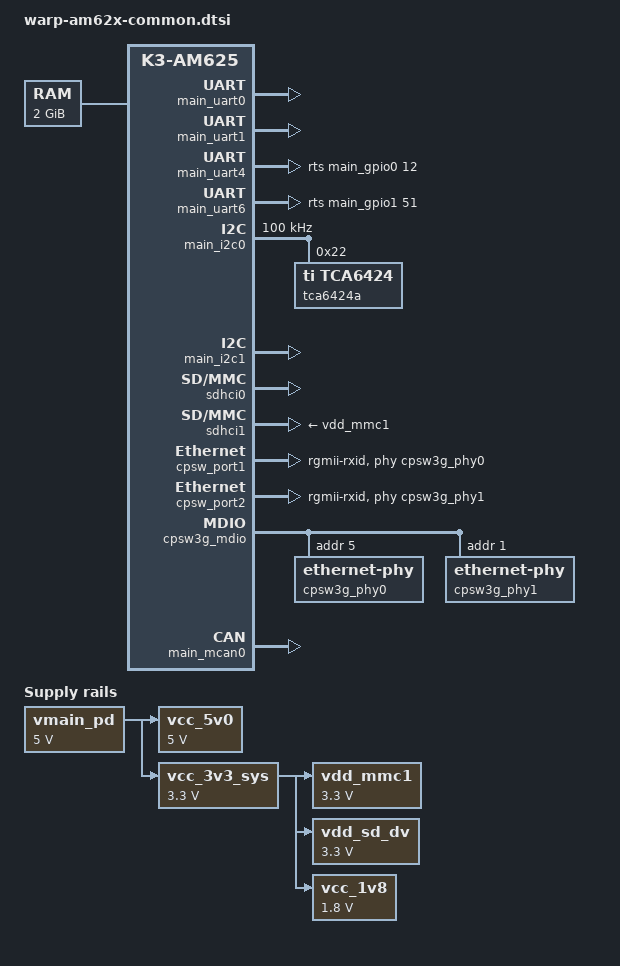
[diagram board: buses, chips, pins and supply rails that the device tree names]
// SPDX-License-Identifier: GPL-2.0
/*
 * Common dtsi for AM62x SK and derivatives
 *
 * Copyright (C) 2021-2023 Texas Instruments Incorporated - https://www.ti.com/
 */

#include <dt-bindings/leds/common.h>
#include <dt-bindings/gpio/gpio.h>
#include <dt-bindings/net/ti-dp83867.h>
#include <dt-bindings/input/input.h>
#include "k3-am625.dtsi"

/ {
	aliases {
		serial2 = &main_uart0;
		serial3 = &main_uart1;
		serial6 = &main_uart4;
		serial8 = &main_uart6;
		mmc0 = &sdhci0;
		mmc1 = &sdhci1;
		mmc2 = &sdhci2;
		ethernet0 = &cpsw_port1;
		ethernet1 = &cpsw_port2;
	};

	chosen {
		stdout-path = "serial2:115200n8";
		bootargs = "console=ttyS2,115200n8 earlycon=ns16550a,mmio32,0x02800000";
	};

	opp-table {
		/* Add 1.4GHz OPP for am625-sk board. Requires VDD_CORE to be at 0.85V */
		opp-1400000000 {
			opp-hz = /bits/ 64 <1400000000>;
			opp-supported-hw = <0x01 0x0004>;
			clock-latency-ns = <6000000>;
		};
	};

	memory@80000000 {
		device_type = "memory";
		/* 2G RAM */
		reg = <0x00000000 0x80000000 0x00000000 0x80000000>;

	};

	reserved-memory {
		#address-cells = <2>;
		#size-cells = <2>;
		ranges;

		ramoops@9c700000 {
			compatible = "ramoops";
			reg = <0x00 0x9c700000 0x00 0x00100000>;
			record-size = <0x8000>;
			console-size = <0x8000>;
			ftrace-size = <0x00>;
			pmsg-size = <0x8000>;
		};



		rtos_ipc_memory_region: ipc-memories@9c800000 {
			compatible = "shared-dma-pool";
			reg = <0x00 0x9c800000 0x00 0x00300000>;
			no-map;
		};

		mcu_m4fss_dma_memory_region: m4f-dma-memory@9cb00000 {
			compatible = "shared-dma-pool";
			reg = <0x00 0x9cb00000 0x00 0x100000>;
			no-map;
		};

		mcu_m4fss_memory_region: m4f-memory@9cc00000 {
			compatible = "shared-dma-pool";
			reg = <0x00 0x9cc00000 0x00 0xe00000>;
			no-map;
		};

		wkup_r5fss0_core0_dma_memory_region: r5f-dma-memory@9da00000 {
			compatible = "shared-dma-pool";
			reg = <0x00 0x9da00000 0x00 0x00100000>;
			no-map;
		};

		wkup_r5fss0_core0_memory_region: r5f-memory@9db00000 {
			compatible = "shared-dma-pool";
			reg = <0x00 0x9db00000 0x00 0x00c00000>;
			no-map;
		};

		lpm_ctx_ddr: lpm-memory@9e700000 {
			reg = <0x00 0x9e700000 0x00 0x80000>;
			alignment = <0x1000>;
		};

		secure_tfa_ddr: tfa@9e780000 {
			reg = <0x00 0x9e780000 0x00 0x80000>;
			alignment = <0x1000>;
			no-map;
		};

		secure_ddr: optee@9e800000 {
			reg = <0x00 0x9e800000 0x00 0x01800000>; /* for OP-TEE */
			alignment = <0x1000>;
			no-map;
		};

		framebuffer: framebuffer@ff700000 {
			reg = <0x00 0xff700000 0x00 0x008ca000>;
			no-map;
		};
	};

	vmain_pd: regulator-0 {
		compatible = "regulator-fixed";
		regulator-name = "vmain_pd";
		regulator-min-microvolt = <5000000>;
		regulator-max-microvolt = <5000000>;
		regulator-always-on;
		regulator-boot-on;
	};

	vcc_5v0: regulator-1 {
		compatible = "regulator-fixed";
		regulator-name = "vcc_5v0";
		regulator-min-microvolt = <5000000>;
		regulator-max-microvolt = <5000000>;
		vin-supply = <&vmain_pd>;
		regulator-always-on;
		regulator-boot-on;
	};

	vcc_3v3_sys: regulator-2 {
		compatible = "regulator-fixed";
		regulator-name = "vcc_3v3_sys";
		regulator-min-microvolt = <3300000>;
		regulator-max-microvolt = <3300000>;
		vin-supply = <&vmain_pd>;
		regulator-always-on;
		regulator-boot-on;
	};

	vdd_mmc1: regulator-3 {
		compatible = "regulator-fixed";
		regulator-name = "vdd_mmc1";
		regulator-min-microvolt = <3300000>;
		regulator-max-microvolt = <3300000>;
		regulator-boot-on;
		enable-active-high;
		vin-supply = <&vcc_3v3_sys>;
	};

	vdd_sd_dv: regulator-sd {
		compatible = "regulator-fixed";
		regulator-name = "vdd_sd_dv";
		regulator-min-microvolt = <3300000>;
		regulator-max-microvolt = <3300000>;
		regulator-boot-on;
		enable-active-high;
		vin-supply = <&vcc_3v3_sys>;
	};


	vcc_1v8: regulator-5 {
		compatible = "regulator-fixed";
		regulator-name = "vcc_1v8";
		regulator-min-microvolt = <1800000>;
		regulator-max-microvolt = <1800000>;
		vin-supply = <&vcc_3v3_sys>;
		regulator-always-on;
		regulator-boot-on;
	};
};

&mcu_pmx0 {
	jtag1_pins_default: jtag1-default-pins {
		pinctrl-single,pins = <
			AM62X_MCU_IOPAD(0x0078, PIN_INPUT_PULLUP, 0) /* (E12) EMU0 */
			AM62X_MCU_IOPAD(0x007c, PIN_INPUT_PULLUP, 0) /* (C11) EMU1 */
			AM62X_MCU_IOPAD(0x0064, PIN_INPUT_PULLUP, 0) /* (A10) TCK */
			AM62X_MCU_IOPAD(0x006c, PIN_INPUT_PULLUP, 0) /* (A11) TDI */
			AM62X_MCU_IOPAD(0x0070, PIN_OUTPUT_PULLUP, 0) /* (D12) TDO */
			AM62X_MCU_IOPAD(0x0074, PIN_INPUT_PULLUP, 0) /* (B11) TMS */
			AM62X_MCU_IOPAD(0x0068, PIN_INPUT_PULLDOWN, 0) /* (B10) TRSTn */
		>;
	};

	mcu_i2c0_pins_default: mcu-i2c0-default-pins {
		pinctrl-single,pins = <
			AM62X_MCU_IOPAD(0x0044, PIN_INPUT, 0) /* (A8) MCU_I2C0_SCL */
			AM62X_MCU_IOPAD(0x0048, PIN_INPUT, 0) /* (D10) MCU_I2C0_SDA */
		>;
	};

	mcu_mcan0_pins_default: mcu-mcan0-default-pins {
		pinctrl-single,pins = <
			AM62X_MCU_IOPAD(0x0038, PIN_INPUT, 0) /* (B3) MCU_MCAN0_RX */
			AM62X_MCU_IOPAD(0x0034, PIN_OUTPUT, 0) /* (D6) MCU_MCAN0_TX */
		>;
	};
	mcu_mcan1_pins_default: mcu-mcan1-default-pins {
		pinctrl-single,pins = <
			AM62X_MCU_IOPAD(0x0040, PIN_INPUT, 0) /* (D4) MCU_MCAN1_RX */
			AM62X_MCU_IOPAD(0x003c, PIN_OUTPUT, 0) /* (E5) MCU_MCAN1_TX */
		>;
	};

};

&main_pmx0 {
	/* First pad number is ALW package and second is AMC package */
	main_uart0_pins_default: main-uart0-pins-default {
		pinctrl-single,pins = <
			AM62X_IOPAD(0x1c8, PIN_INPUT, 0) /* (D14/A13) UART0_RXD */
			AM62X_IOPAD(0x1cc, PIN_OUTPUT, 0) /* (E14/E11) UART0_TXD */
		>;
	};

	main_uart1_pins_default: main-uart1-pins-default {
		pinctrl-single,pins = <
			AM62X_IOPAD(0x01ac, PIN_INPUT, 2) /* (E19) MCASP0_AFSR.UART1_RXD */
			AM62X_IOPAD(0x01b0, PIN_OUTPUT, 2) /* (A20) MCASP0_ACLKR.UART1_TXD */
		>;
	};

	main_uart4_pins_default: main-uart4-pins-default {
		pinctrl-single,pins = <
			AM62X_IOPAD(0x00b0, PIN_INPUT, 3) /* (K22) GPMC0_CSn2.UART4_RXD */
			AM62X_IOPAD(0x00b4, PIN_OUTPUT, 3) /* (K24) GPMC0_CSn3.UART4_TXD */
		>;
	};

	main_uart6_pins_default: main-uart6-pins-default {
		pinctrl-single,pins = <
		    AM62X_IOPAD(0x0118, PIN_INPUT, 3) /* (D25) MMC2_CLK.UART6_RXD */
			AM62X_IOPAD(0x00a0, PIN_OUTPUT, 3) /* (K25) GPMC0_WPn.UART6_TXD */
		>;
	};

	main_i2c0_pins_default: main-i2c0-pins-default {
		pinctrl-single,pins = <
			AM62X_IOPAD(0x1e0, PIN_INPUT_PULLUP, 0) /* (B16/E12) I2C0_SCL */
			AM62X_IOPAD(0x1e4, PIN_INPUT_PULLUP, 0) /* (A16/D14) I2C0_SDA */
		>;
	};

	main_i2c1_pins_default: main-i2c1-pins-default {
		pinctrl-single,pins = <
			AM62X_IOPAD(0x1e8, PIN_INPUT_PULLUP, 0) /* (B17/A17) I2C1_SCL */
			AM62X_IOPAD(0x1ec, PIN_INPUT_PULLUP, 0) /* (A17/A16) I2C1_SDA */
		>;
	};

	main_mmc0_pins_default: main-mmc0-pins-default {
		pinctrl-single,pins = <
			AM62X_IOPAD(0x220, PIN_INPUT, 0) /* (Y3/V3) MMC0_CMD */
			AM62X_IOPAD(0x218, PIN_INPUT, 0) /* (AB1/Y1) MMC0_CLK */
			AM62X_IOPAD(0x214, PIN_INPUT, 0) /* (AA2/V2) MMC0_DAT0 */
			AM62X_IOPAD(0x210, PIN_INPUT, 0) /* (AA1/V1) MMC0_DAT1 */
			AM62X_IOPAD(0x20c, PIN_INPUT, 0) /* (AA3/W2) MMC0_DAT2 */
			AM62X_IOPAD(0x208, PIN_INPUT, 0) /* (Y4/W1) MMC0_DAT3 */
			AM62X_IOPAD(0x204, PIN_INPUT, 0) /* (AB2/Y2) MMC0_DAT4 */
			AM62X_IOPAD(0x200, PIN_INPUT, 0) /* (AC1/W3) MMC0_DAT5 */
			AM62X_IOPAD(0x1fc, PIN_INPUT, 0) /* (AD2/W4) MMC0_DAT6 */
			AM62X_IOPAD(0x1f8, PIN_INPUT, 0) /* (AC2/V4) MMC0_DAT7 */
		>;
	};

	main_mmc1_pins_default: main-mmc1-pins-default {
		pinctrl-single,pins = <
			AM62X_IOPAD(0x23c, PIN_INPUT, 0) /* (A21/C18) MMC1_CMD */
			AM62X_IOPAD(0x234, PIN_INPUT, 0) /* (B22/A20) MMC1_CLK */
			AM62X_IOPAD(0x230, PIN_INPUT, 0) /* (A22/A19) MMC1_DAT0 */
			AM62X_IOPAD(0x22c, PIN_INPUT, 0) /* (B21/B19) MMC1_DAT1 */
			AM62X_IOPAD(0x228, PIN_INPUT, 0) /* (C21/B20) MMC1_DAT2 */
			AM62X_IOPAD(0x224, PIN_INPUT, 0) /* (D22/C19) MMC1_DAT3 */
			AM62X_IOPAD(0x240, PIN_INPUT, 0) /* (D17/C15) MMC1_SDCD */
		>;
	};

	main_mdio1_pins_default: main-mdio1-pins-default {
		pinctrl-single,pins = <
			AM62X_IOPAD(0x160, PIN_OUTPUT, 0) /* (AD24/V17) MDIO0_MDC */
			AM62X_IOPAD(0x15c, PIN_INPUT, 0) /* (AB22/U16) MDIO0_MDIO */
		>;
	};

	main_rgmii1_pins_default: main-rgmii1-pins-default {
		pinctrl-single,pins = <
			AM62X_IOPAD(0x14c, PIN_INPUT, 0) /* (AB17/W15) RGMII1_RD0 */
			AM62X_IOPAD(0x150, PIN_INPUT, 0) /* (AC17/Y16) RGMII1_RD1 */
			AM62X_IOPAD(0x154, PIN_INPUT, 0) /* (AB16/AA17) RGMII1_RD2 */
			AM62X_IOPAD(0x158, PIN_INPUT, 0) /* (AA15/Y15) RGMII1_RD3 */
			AM62X_IOPAD(0x148, PIN_INPUT, 0) /* (AD17/AA16) RGMII1_RXC */
			AM62X_IOPAD(0x144, PIN_INPUT, 0) /* (AE17/W14) RGMII1_RX_CTL */
			AM62X_IOPAD(0x134, PIN_OUTPUT, 0) /* (AE20/U14) RGMII1_TD0 */
			AM62X_IOPAD(0x138, PIN_OUTPUT, 0) /* (AD20/AA19) RGMII1_TD1 */
			AM62X_IOPAD(0x13c, PIN_OUTPUT, 0) /* (AE18/Y17) RGMII1_TD2 */
			AM62X_IOPAD(0x140, PIN_OUTPUT, 0) /* (AD18/AA18) RGMII1_TD3 */
			AM62X_IOPAD(0x130, PIN_OUTPUT, 0) /* (AE19/W16) RGMII1_TXC */
			AM62X_IOPAD(0x12c, PIN_OUTPUT, 0) /* (AD19/V15) RGMII1_TX_CTL */
		>;
	};

	main_rgmii2_pins_default: main-rgmii2-pins-default {
		pinctrl-single,pins = <
			AM62X_IOPAD(0x184, PIN_INPUT, 0) /* (AE23) RGMII2_RD0 */
			AM62X_IOPAD(0x188, PIN_INPUT, 0) /* (AB20) RGMII2_RD1 */
			AM62X_IOPAD(0x18c, PIN_INPUT, 0) /* (AC21) RGMII2_RD2 */
			AM62X_IOPAD(0x190, PIN_INPUT, 0) /* (AE22) RGMII2_RD3 */
			AM62X_IOPAD(0x180, PIN_INPUT, 0) /* (AD23) RGMII2_RXC */
			AM62X_IOPAD(0x17c, PIN_INPUT, 0) /* (AD22) RGMII2_RX_CTL */
			AM62X_IOPAD(0x16c, PIN_OUTPUT, 0) /* (Y18) RGMII2_TD0 */
			AM62X_IOPAD(0x170, PIN_OUTPUT, 0) /* (AA18) RGMII2_TD1 */
			AM62X_IOPAD(0x174, PIN_OUTPUT, 0) /* (AD21) RGMII2_TD2 */
			AM62X_IOPAD(0x178, PIN_OUTPUT, 0) /* (AC20) RGMII2_TD3 */
			AM62X_IOPAD(0x168, PIN_OUTPUT, 0) /* (AE21) RGMII2_TXC */
			AM62X_IOPAD(0x164, PIN_OUTPUT, 0) /* (AA19) RGMII2_TX_CTL */
		>;
	};

	main_mcan0_pins_default: main-mcan0_pins_default {
		pinctrl-single,pins = <
			AM62X_IOPAD(0x01d8, PIN_OUTPUT, 0) /* (C15) SoC_UART1_DTRn.MCAN0_TX */
			AM62X_IOPAD(0x01dc, PIN_INPUT, 0) /* (E15) SoC_UART1_RIn.MCAN0_RX */
		>;		
	};

	spi0_pins_default: myspi0-default-pins {
		pinctrl-single,pins = <
			AM62X_IOPAD(0x01bc, PIN_INPUT, 0) /* (A14) SPI0_CLK */
			AM62X_IOPAD(0x01b4, PIN_INPUT, 0) /* (A13) SPI0_CS0 */
			AM62X_IOPAD(0x01b8, PIN_INPUT, 0) /* (C13) SPI0_CS1 */
			AM62X_IOPAD(0x01d0, PIN_INPUT, 1) /* (A15) UART0_CTSn.SPI0_CS2 */
			AM62X_IOPAD(0x01d4, PIN_INPUT, 1) /* (B15) UART0_RTSn.SPI0_CS3 */
			AM62X_IOPAD(0x01c0, PIN_INPUT, 0) /* (B13) SPI0_D0 */
			AM62X_IOPAD(0x01c4, PIN_INPUT, 0) /* (B14) SPI0_D1 */
		>;
	};

};


&mcu_gpio0 {
	status = "disabled";
};

&main_gpio0 {
	pinctrl-names ="default";
	status = "okay";
};


&wkup_uart0 {
	/* WKUP UART0 is used by DM firmware */
	status = "reserved";
};

&main_uart0 {
	pinctrl-names = "default";
	pinctrl-0 = <&main_uart0_pins_default>;
	status = "okay";
	interrupts-extended = <&gic500 GIC_SPI 178 IRQ_TYPE_LEVEL_HIGH>,
		       	<&main_pmx0 0x1c8>; /* (D14) UART0_RXD PADCONFIG114 */
	interrupt-names = "irq", "wakeup";
};

&main_uart1 {
	/* Main UART1 is used by TIFS firmware */
	pinctrl-names = "default";
	pinctrl-0 = <&main_uart1_pins_default>;
	status = "okay";
};

&main_uart4 {
	pinctrl-names = "default";
	pinctrl-0 = <&main_uart4_pins_default>;
  rts-gpios = <&main_gpio0 12 GPIO_ACTIVE_HIGH>;
	rs485-rx-during-tx;
	rs485-rts-delay = <1 1>;
	linux,rs485-enabled-at-boot-time;
	status = "okay";

};

&main_uart6 {
	pinctrl-names = "default";
	pinctrl-0 = <&main_uart6_pins_default>;
	rts-gpios = <&main_gpio1 51 GPIO_ACTIVE_HIGH>;
	rs485-rx-during-tx;
	rs485-rts-delay = <1 1>;
	linux,rs485-enabled-at-boot-time;
	status = "okay";
};

&mcu_i2c0 {
	status = "disabled";
};

&main_i2c0 {
	pinctrl-names = "default";
	pinctrl-0 = <&main_i2c0_pins_default>;
	clock-frequency = <100000>;
	status = "okay";

	tca6424a: gpio@22 {
		compatible = "ti,tca6424";
		reg = <0x22>;
		gpio-controller;
		#gpio-cells = <2>;
	};
};

&main_i2c1 {
	status = "okay";
};

&main_i2c2 {
	status = "disabled";
};

&main_i2c3 {
	status = "disabled";
};

&sdhci0 {
	pinctrl-names = "default";
	pinctrl-0 = <&main_mmc0_pins_default>;
	ti,driver-strength-ohm = <50>;
	disable-wp;
	status = "okay";
};

&sdhci1 {
	/* SD/MMC */
	vmmc-supply = <&vdd_mmc1>;
	vqmmc-supply = <&vdd_sd_dv>;
	pinctrl-names = "default";
	pinctrl-0 = <&main_mmc1_pins_default>;
	ti,driver-strength-ohm = <50>;
	disable-wp;
	status = "okay";
};

&usbss0 {
	status = "disabled";
};
&usbss1 {
	status = "disabled";
};

&usb0 {
	status = "disabled";
};

&usb1 {
	status = "disabled";
};

&cpsw3g {
        bootph-all;
        pinctrl-names = "default";
        pinctrl-0 = <&main_rgmii1_pins_default>;
};

&cpsw_port1 {
	phy-mode = "rgmii-rxid";
	phy-handle = <&cpsw3g_phy0>;
	status = "okay";
};

&cpsw_port2 {
	phy-mode = "rgmii-rxid";
	phy-handle = <&cpsw3g_phy1>;
	status = "okay";
};

&cpsw3g_mdio {
        bootph-all;
        status = "okay";
        pinctrl-names = "default";
        pinctrl-0 = <&main_mdio1_pins_default>;

        cpsw3g_phy0: ethernet-phy@0 {
                reg = <5>;
                ti,rx-internal-delay = <DP83867_RGMIIDCTL_2_00_NS>;
                ti,fifo-depth = <DP83867_PHYCR_FIFO_DEPTH_4_B_NIB>;
                ti,min-output-impedance;

        };
        cpsw3g_phy1: ethernet-phy@1 {
                reg = <1>;
                ti,rx-internal-delay = <DP83867_RGMIIDCTL_2_00_NS>;
                ti,fifo-depth = <DP83867_PHYCR_FIFO_DEPTH_4_B_NIB>;
                ti,min-output-impedance;
        };

};

&csi0_port0 {
	status = "disabled";
};

&ti_csi2rx0 {
	status = "disabled";
};

&dphy0 {
	status = "disabled";
};


&mcasp0 {
	status = "disabled";
};


&mcasp2 {
	status = "disabled";
};

&mailbox0_cluster0 {
	mbox_m4_0: mbox-m4-0 {
		ti,mbox-rx = <0 0 0>;
		ti,mbox-tx = <1 0 0>;
	};

	mbox_r5_0: mbox-r5-0 {
		ti,mbox-rx = <2 0 0>;
		ti,mbox-tx = <3 0 0>;
	};
};

&ospi0 {
	status = "disabled";
};

&mcu_m4fss {
	mboxes = <&mailbox0_cluster0 &mbox_m4_0>;
	memory-region = <&mcu_m4fss_dma_memory_region>,
			<&mcu_m4fss_memory_region>;
};

&wkup_r5fss0_core0 {
	mboxes = <&mailbox0_cluster0 &mbox_r5_0>;
	memory-region = <&wkup_r5fss0_core0_dma_memory_region>,
			<&wkup_r5fss0_core0_memory_region>;
};

&main_mcan0 {
	pinctrl-names = "default";
	pinctrl-0 = <&main_mcan0_pins_default>;
	status = "okay";
};










